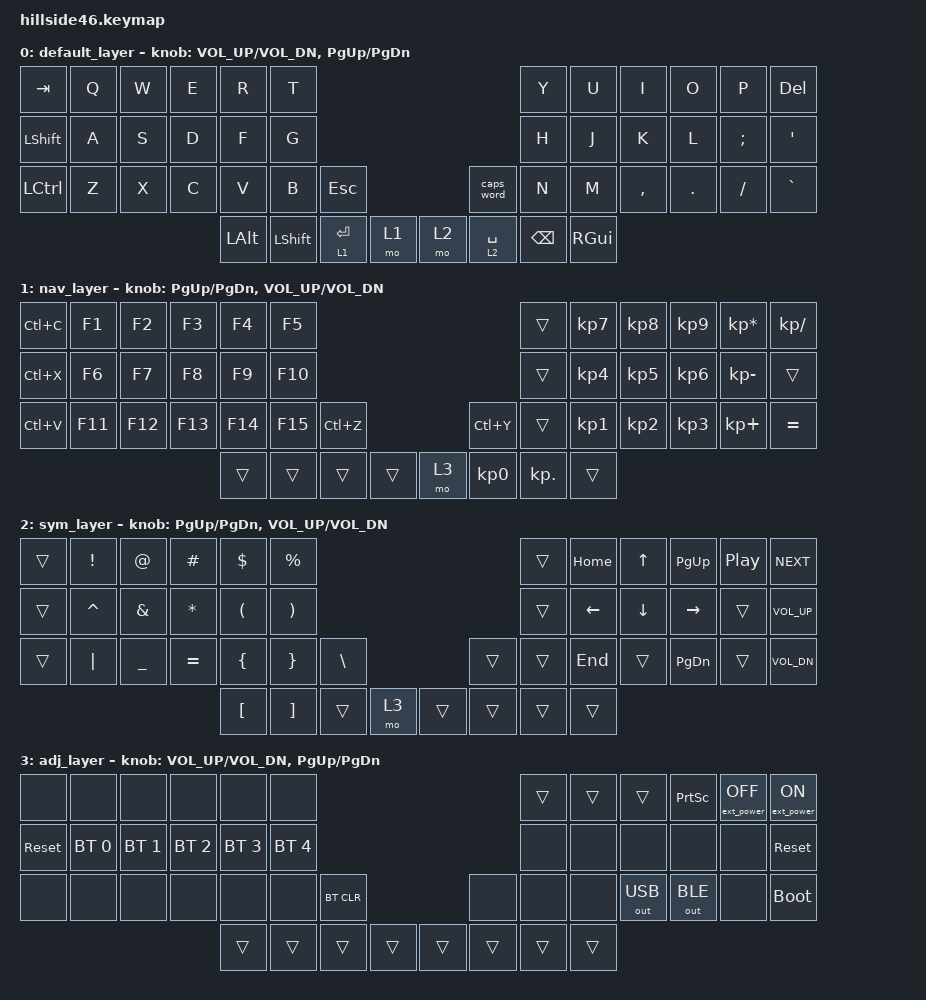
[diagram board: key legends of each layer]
/*
 * Copyright (c) 2021-2022 The ZMK Contributors
 *
 * SPDX-License-Identifier: MIT
 */

#include <behaviors.dtsi>
#include <dt-bindings/zmk/bt.h>
#include <dt-bindings/zmk/ext_power.h>
#include <dt-bindings/zmk/keys.h>
#include <dt-bindings/zmk/outputs.h>

#define QWERTY_L 0
#define DVORAK_L 1
#define COLEMK_L 2
#define NAV_L    3
#define SYM_L    4
#define ADJ_L    5
#define Undo   LC(Z)
#define Cut    LC(X)
#define Copy   LC(C)
#define Paste  LC(V)
#define Redo   LC(Y)

/ {
    keymap {
        compatible = "zmk,keymap";

        default_layer {
            /* QWERTY
 * -------------------------------------------------------------------------------------------------------------------------------------
 * | TAB   |   Q   |   W   |   E   |   R   |   T   |-----------------------------------|   Y   |   U   |   I   |   O   |   P   | DEL   |
 * | Shift |   A   |   S   |   D   |   F   |   G   |-----------------------------------|   H   |   J   |   K   |   L   |   ;   | ENTER |
 * | CTRL  |   Z   |   X   |   C   |   V   |   B   |  ESC  |-------------------|  CAPS |   N   |   M   |   ,   |   .   |   /   |   '   |
 *                                 |  ALT  |  Shift|ENTER  |  Nav  |---|  Sym  | SPACE | Bkspc |  GUI  |
 */

            bindings = <
&kp TAB     &kp Q  &kp W  &kp E  &kp R     &kp T                                               &kp Y     &kp U     &kp I      &kp O    &kp P      &kp DEL
&kp LSHIFT  &kp A  &kp S  &kp D  &kp F     &kp G                                               &kp H     &kp J     &kp K      &kp L    &kp SEMI   &kp SQT
&kp LCTRL   &kp Z  &kp X  &kp C  &kp V     &kp B       &kp ESC                    &caps_word   &kp N     &kp M     &kp COMMA  &kp DOT  &kp SLASH  &kp GRAVE
                                 &kp LALT  &kp LSHIFT  &lt 1 ENTER  &mo 1  &mo 2  &lt 2 SPACE  &kp BSPC  &kp RGUI
            >;

            sensor-bindings = <&inc_dec_kp C_VOL_UP C_VOL_DN &inc_dec_kp PG_UP PG_DN>;
        };

        nav_layer {
            /* NAV   
 * -------------------------------------------------------------------------------------------------------------------------------------
 * | Copy  |   F1   |   F2   |   F3   |   F4   |   F5   |-----------------------------------|       |  7   |   8   |  9   |   *   | /     |
 * | Cut   |   F6   |   F7   |   F8   |   F9   |   F10  |-----------------------------------| PG UP |  4   |   5   |  6   | -     |       |
 * | Paste |   F11  |   F12  |   F13  |   F14  |   F15  |  UnDo |-------------------| ReDo  | PG DN |  1   |   2   |  3   |  +    |       |
 *                                    |        |        |       |       |---| ADJ_L |    0  |   .   |      |
 */

            bindings = <
&kp Copy   &kp F1   &kp F2   &kp F3   &kp F4   &kp F5                                       &trans      &kp KP_N7  &kp KP_N8  &kp KP_N9  &kp KP_MULTIPLY  &kp KP_DIVIDE
&kp Cut    &kp F6   &kp F7   &kp F8   &kp F9   &kp F10                                      &trans      &kp KP_N4  &kp KP_N5  &kp KP_N6  &kp KP_MINUS     &trans
&kp Paste  &kp F11  &kp F12  &kp F13  &kp F14  &kp F15  &kp Undo                 &kp Redo   &trans      &kp KP_N1  &kp KP_N2  &kp KP_N3  &kp KP_PLUS      &kp EQUAL
                                      &trans   &trans   &trans    &trans  &mo 3  &kp KP_N0  &kp KP_DOT  &trans
            >;

            sensor-bindings = <&inc_dec_kp PG_UP PG_DN &inc_dec_kp C_VOL_UP C_VOL_DN>;
        };

        sym_layer {
            /* SYM
 * -------------------------------------------------------------------------------------------------------------------------------------
 * | INS   |   !   |   @   |   #   |   $   |   %   |-----------------------------------|   ^   |   &   |   *   |   (   |   )   | BSPC  |
 * |       |   \   |   -   |   =   |   [   |   ]   |-----------------------------------| HOME  | Shift | Ctrl  | Alt   | Gui   | END   |
 * | Ctrl  |   |   |   _   |   +   |   {   |   }   |SkAltGr|-------------------| MENU  | Mute  | Vol-  | Vol+  | Play  |       | Ctrl  |
 *                                 |       |       |       |  ADJ_L |---|      |       |       |       |
 */

            bindings = <
&trans  &kp EXCL   &kp AT     &kp HASH   &kp DOLLAR  &kp PERCENT                                   &trans  &kp HOME  &kp UP    &kp PG_UP  &kp C_PP  &kp C_NEXT
&trans  &kp CARET  &kp AMPS   &kp ASTRK  &kp LPAR    &kp RPAR                                      &trans  &kp LEFT  &kp DOWN  &kp RIGHT  &trans    &kp C_VOL_UP
&trans  &kp PIPE   &kp UNDER  &kp EQUAL  &kp LBRC    &kp RBRC     &kp BSLH                 &trans  &trans  &kp END   &trans    &kp PG_DN  &trans    &kp C_VOL_DN
                                         &kp LBKT    &kp RBKT     &trans    &mo 3  &trans  &trans  &trans  &trans
            >;

            sensor-bindings = <&inc_dec_kp PG_UP PG_DN &inc_dec_kp C_VOL_UP C_VOL_DN>;
        };

        adj_layer {
            /* ADJUST
 * -------------------------------------------------------------------------------------------------------------------------------------
 * |       |       |       |       |       |       |-----------------------------------|       |       |       |Prt Scr|EP_OFF | EP_ON |
 * | RESET | BT 0  | BT 1  | BT 2  | BT 3  | BT 4  |-----------------------------------|       |       |       |       |       | RESET |
 * |       | LGUI  | LALT  | LCTRL | LSHIFT|       |BT CLR |-------------------|       |       |       |OUT_USB|OUT_BLE|       | BOOTL |
 *                                 |       |       |       |       |---|       |       |       |       |
 */

            bindings = <
&none       &none         &none         &none         &none         &none                                             &trans  &trans  &trans        &kp PRINTSCREEN  &ext_power EP_OFF  &ext_power EP_ON
&sys_reset  &bt BT_SEL 0  &bt BT_SEL 1  &bt BT_SEL 2  &bt BT_SEL 3  &bt BT_SEL 4                                      &none   &none   &none         &none            &none              &sys_reset
&none       &none         &none         &none         &none         &none         &bt BT_CLR                  &none   &none   &none   &out OUT_USB  &out OUT_BLE     &none              &bootloader
                                                      &trans        &trans        &trans      &trans  &trans  &trans  &trans  &trans
            >;

            sensor-bindings = <&inc_dec_kp C_VOL_UP C_VOL_DN &inc_dec_kp PG_UP PG_DN>;
        };
    };
};
